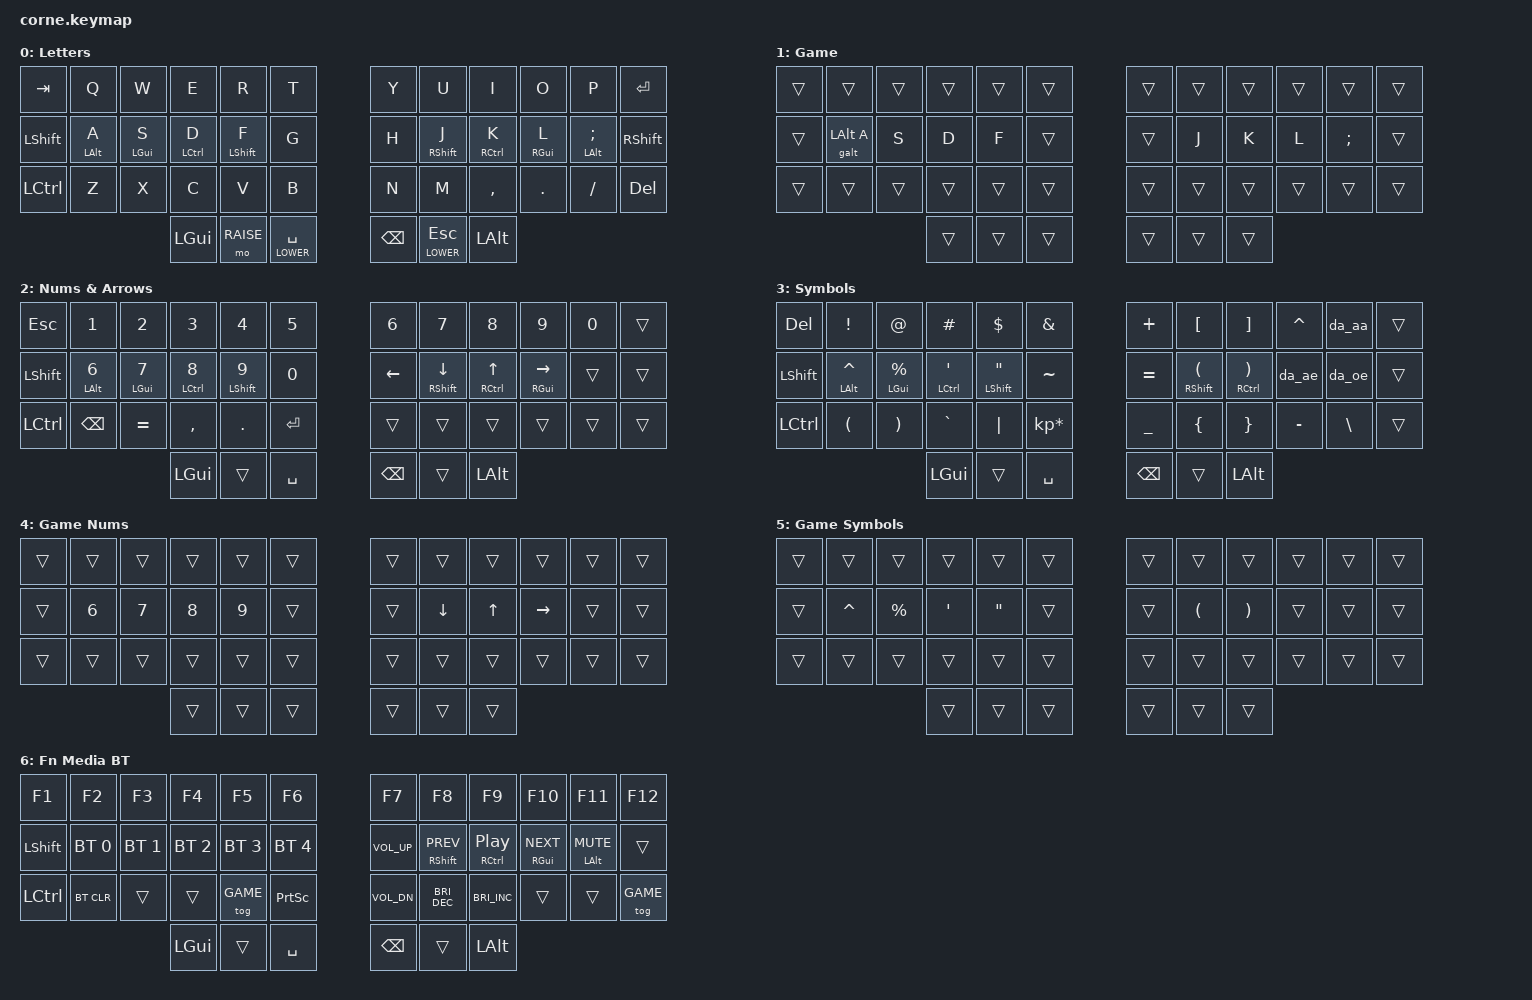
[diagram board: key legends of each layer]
/*
 * Copyright (c) 2020 The ZMK Contributors
 *
 * SPDX-License-Identifier: MIT
 */

// TODO: Change the solidworks layer to a specific numpad layer to have ctrl when navigating with arrow keys.
// TODO: Add home/end/insert etc on the navigation layer.

#include <behaviors.dtsi>
#include <dt-bindings/zmk/keys.h>
#include <dt-bindings/zmk/bt.h>

#define HOST_OS 1
#include "zmk-helpers/helper.h"
#include "zmk-helpers/key-labels/42.h"
#include "zmk-helpers/unicode-chars/danish.dtsi"

// Order is precedence: a higher layer wins where it isn't &trans. GAME sits
// right above DEFAULT so Lower/Raise still cover it; the game copies of
// Lower/Raise sit above those; TRI stays on top so Fn always wins.
#define DEFAULT 0
#define GAME 1
#define LOWER 2
#define RAISE 3
#define GAME_LOWER 4
#define GAME_RAISE 5
#define TRI 6

// ZMK_UNICODE_PAIR(l_par_brack,   N0, N0, N2, N8,   N0, N0, N3, C)  // ( -> U+0028, < -> U+003C
// ZMK_UNICODE_PAIR(r_par_brack,   N0, N0, N2, N9,   N0, N0, N3, E)  // ) -> U+0029, > -> U+003E

&lt {
  tapping-term-ms = <150>;
};

// Homerow mods (urob-style "timeless"): a mod only activates when the next key
// is on the opposite hand or a thumb, so same-hand rolls stay letters.
#define KEYS_L LT0 LT1 LT2 LT3 LT4 LT5 LM0 LM1 LM2 LM3 LM4 LM5 LB0 LB1 LB2 LB3 LB4 LB5
#define KEYS_R RT0 RT1 RT2 RT3 RT4 RT5 RM0 RM1 RM2 RM3 RM4 RM5 RB0 RB1 RB2 RB3 RB4 RB5
#define THUMBS LH2 LH1 LH0 RH0 RH1 RH2

#define MAKE_HRM(NAME, HOLD, TAP, TRIGGER_POS)                                  \
    ZMK_HOLD_TAP(NAME, bindings = <HOLD>, <TAP>; flavor = "balanced";          \
                 tapping-term-ms = <280>; quick-tap-ms = <175>;                \
                 require-prior-idle-ms = <150>; hold-trigger-on-release;       \
                 hold-trigger-key-positions = <TRIGGER_POS>;)

MAKE_HRM(hml, &kp, &kp, KEYS_R THUMBS)  // left-hand mods
MAKE_HRM(hmr, &kp, &kp, KEYS_L THUMBS)  // right-hand mods

// Game mode A: tap = A, hold with another key = Alt (Alt+Tab one-handed).
// Balanced, not positional: Tab is on the same hand. A roll (A down, E down,
// A up) stays an A, because E is still held when A comes up.
ZMK_HOLD_TAP(galt, bindings = <&kp>, <&kp>; flavor = "balanced";
             tapping-term-ms = <200>;)

/ {

  conditional_layers {
    compatible = "zmk,conditional-layers";

    // Behavior for simultaneous key press of both layer keys.
    tri_layer {
      if-layers = <LOWER RAISE>;
      then-layer = <TRI>;
    };

    // Game mode on: Lower/Raise get their homerow-mod-free copies on top.
    game_lower_layer {
      if-layers = <GAME LOWER>;
      then-layer = <GAME_LOWER>;
    };

    game_raise_layer {
      if-layers = <GAME RAISE>;
      then-layer = <GAME_RAISE>;
    };
  };


  keymap {
    compatible = "zmk,keymap";

    default_layer {
      display-name = "Letters";
    // -----------------------------------------------------------------------------------------
    // |  TAB |  Q  |  W  |  E  |  R  |  T  |   |  Y  |  U   |  I  |  O  |  P  | ENT  |
    // | SHFT |  A  |  S  |  D  |  F  |  G  |   |  H  |  J   |  K  |  L  |  ;  | SHFT |
    //  hold:  ALT   GUI   CTRL  SHFT              SHFT   CTRL  GUI   ALT
    // | CTRL |  Z  |  X  |  C  |  V  |  B  |   |  N  |  M   |  ,  |  .  |  /  | DEL  |
    //                    | GUI | RSE | SPC |   | BKSP| LOW  | ALT |
    bindings = <
    &kp TAB   &kp Q &kp W    &kp E     &kp R           &kp T    &kp Y         &kp U    &kp I     &kp O   &kp P    &kp RET
    &kp LSHFT &hml LALT A &hml LGUI S &hml LCTRL D &hml LSHFT F &kp G    &kp H &hmr RSHFT J &hmr RCTRL K &hmr RGUI L &hmr LALT SEMI &kp RSHFT 
    &kp LCTRL &kp Z &kp X    &kp C     &kp V           &kp B    &kp N         &kp M    &kp COMMA &kp DOT &kp FSLH &kp DELETE
                    &kp LGUI &mo RAISE &lt LOWER SPACE &kp BSPC &lt LOWER ESC &kp LALT
      >;
    };

    // Game mode (toggled from Fn, bottom-right or the V key): the default
    // layout with the homerow mods off, so held keys stay keys (ESDF movement
    // in games). Everything else falls through to the default layer. A keeps
    // Alt via a quicker, balanced hold-tap so Alt+Tab still works one-handed.
    game_layer {
      display-name = "Game";
    // -----------------------------------------------------------------------------------------
    // |      |     |     |     |     |     |   |     |      |     |     |     |      |
    // |      | A/ALT|  S  |  D  |  F  |     |   |     |  J   |  K  |  L  |  ;  |      |
    // |      |     |     |     |     |     |   |     |      |     |     |     |      |
    bindings = <
    &trans &trans          &trans &trans &trans &trans    &trans &trans &trans &trans &trans   &trans
    &trans &galt LALT A    &kp S  &kp D  &kp F  &trans    &trans &kp J  &kp K  &kp L  &kp SEMI &trans
    &trans &trans          &trans &trans &trans &trans    &trans &trans &trans &trans &trans   &trans
                           &trans &trans &trans           &trans &trans &trans
      >;
    };

    lower_layer {
      display-name = "Nums & Arrows";
    // -----------------------------------------------------------------------------------------
    // | ESC  |  1   |  2  |  3  |  4  |  5  |   |  6  |  7  |  8  |  9  |  0  |     |
    // | SHFT |  3   |  7  |  8  |  9  |  0  |   | LFT | DWN |  UP | RGT |     |     |
    // | CTRL | BKSP |  =  |  ,  |  .  | ENT |   |     |     |     |     |     |     |
    //                    | GUI |     | SPC |   | BKSP|     | ALT |
    bindings = <
    &kp ESC    &kp N1       &kp N2       &kp N3       &kp N4       &kp N5     &kp N6   &kp N7   &kp N8   &kp N9    &kp N0 &trans
    &kp LSHIFT &hml LALT N6 &hml LGUI N7 &hml LCTRL N8 &hml LSHFT N9 &kp N0     &kp LEFT &hmr RSHFT DOWN &hmr RCTRL UP &hmr RGUI RIGHT &trans &trans
    &kp LCTRL  &kp BSPC     &kp EQUAL    &kp COMMA    &kp DOT      &kp RET    &trans   &trans   &trans   &trans    &trans &trans
                                         &kp LGUI     &trans       &kp SPACE  &kp BSPC &trans   &kp LALT
      >;
    };

    raise_layer {
      display-name = "Symbols";
    // -----------------------------------------------------------------------------------------
    // | DEL  |  !  |  @  |  #  |  $  |  &  |   |  +  |  [  |  ]  |  ^  |  å  |       |
    // | SHFT |  ^  |  %  |  '  |  "  |  ~  |   |  =  |  (  |  )  |  æ  |  ø  |       |
    // | CTRL |  (  |  )  |  `  | "|" |  *  |   |  _  |  {  |  }  |  -  |  \  |       |
    //                    | GUI |     | SPC |   | BKSP|     | ALT |
    bindings = <
    &kp DEL   &kp EXCL  &kp AT      &kp HASH  &kp DLLR    &kp AMPS        &kp PLUS  &kp LBKT  &kp RBKT  &kp CARET &da_aa   &trans
    &kp LSHFT &hml LALT CARET &hml LGUI PERCENT &hml LCTRL SQT &hml LSHFT DQT &kp TILDE &kp EQUAL &hmr RSHFT LPAR &hmr RCTRL RPAR &da_ae &da_oe &trans 
    &kp LCTRL &kp LPAR  &kp RPAR    &kp GRAVE &kp PIPE    &kp KP_MULTIPLY &kp UNDER &kp LBRC  &kp RBRC  &kp MINUS &kp BSLH &trans 
                                    &kp LGUI  &trans      &kp SPACE       &kp BSPC  &trans    &kp LALT
      >;
    };

    // Game mode + Lower (conditional): Lower's homerow-mod keys made plain.
    game_lower_layer {
      display-name = "Game Nums";
    bindings = <
    &trans &trans  &trans  &trans  &trans  &trans    &trans &trans    &trans  &trans    &trans &trans
    &trans &kp N6  &kp N7  &kp N8  &kp N9  &trans    &trans &kp DOWN  &kp UP  &kp RIGHT &trans &trans
    &trans &trans  &trans  &trans  &trans  &trans    &trans &trans    &trans  &trans    &trans &trans
                           &trans  &trans  &trans    &trans &trans    &trans
      >;
    };

    // Game mode + Raise (conditional): Raise's homerow-mod keys made plain.
    game_raise_layer {
      display-name = "Game Symbols";
    bindings = <
    &trans &trans     &trans       &trans   &trans   &trans    &trans &trans   &trans   &trans &trans &trans
    &trans &kp CARET  &kp PERCENT  &kp SQT  &kp DQT  &trans    &trans &kp LPAR &kp RPAR &trans &trans &trans
    &trans &trans     &trans       &trans   &trans   &trans    &trans &trans   &trans   &trans &trans &trans
                                   &trans   &trans   &trans    &trans &trans   &trans
      >;
    };

    tri_layer {
      display-name = "Fn Media BT";
      // -----------------------------------------------------------------------------------------
      // |  F1  | F2  |  F3  |  F4  |  F5  |  F6 |   |  F7  |   F8   |  F9    | F10  |  F11 | F12 |
      // | SHFT | BT 0| BT 1 | BT 2 | BT 3 | BT 4|   |  UP  |  PREV  |  PLAY  | NEXT | MUTE |     |
      // | CTRL | CLR |      |      | GAME | PSC |   |  DN  | BRI_DN | BRI_UP |      |      | GAME|
      //                     | GUI  |      | SPC |   | BKSP |        | ALT    |
      // GAME toggles game mode. Right one for both halves; left one (V, two
      // keys from CLR) for when the right half is stowed: Raise + hold Space.
    bindings = <
    &kp F1    &kp F2       &kp F3       &kp F4       &kp F5       &kp F6         &kp F7       &kp F8        &kp F9           &kp F10    &kp F11    &kp F12
    &kp LSHFT &bt BT_SEL 0 &bt BT_SEL 1 &bt BT_SEL 2 &bt BT_SEL 3 &bt BT_SEL 4   &kp C_VOL_UP &hmr RSHFT C_PREV &hmr RCTRL C_PLAY_PAUSE &hmr RGUI C_NEXT &hmr LALT C_MUTE &trans
    &kp LCTRL &bt BT_CLR   &trans       &trans       &tog GAME    &kp PSCRN      &kp C_VOL_DN &kp C_BRI_DEC &kp C_BRI_INC    &trans     &trans     &tog GAME
                                        &kp LGUI     &trans       &kp SPACE      &kp BSPC &trans   &kp LALT
      >;
    };
  };
};
/*  */
